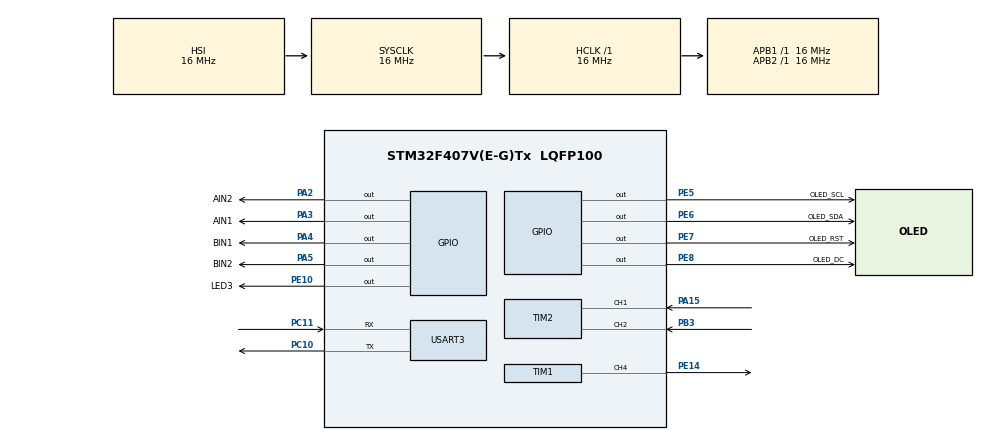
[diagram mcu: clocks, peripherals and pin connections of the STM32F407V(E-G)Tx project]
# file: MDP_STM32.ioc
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FREERTOS.Tasks01=defaultTask,24,128,StartDefaultTask,Default,NULL,Dynamic,NULL,NULL;displayOLED,8,128,displayMsg,Default,NULL,Dynamic,NULL,NULL;encoderTask,8,128,runEncoder,Default,NULL,Dynamic,NULL,NULL
Mcu.Family=STM32F4
Mcu.Name=STM32F407V(E-G)Tx
Mcu.Package=LQFP100
NVIC.PriorityGroup=NVIC_PRIORITYGROUP_4
NVIC.USART3_IRQn=true\:5\:0\:false\:false\:true\:true\:true\:true
PA15.Signal=S_TIM2_CH1_ETR
PA2.GPIO_Label=AIN2
PA2.GPIO_Speed=GPIO_SPEED_FREQ_HIGH
PA2.Signal=GPIO_Output
PA3.GPIO_Label=AIN1
PA3.GPIO_Speed=GPIO_SPEED_FREQ_HIGH
PA3.Signal=GPIO_Output
PA4.GPIO_Label=BIN1
PA4.GPIO_Speed=GPIO_SPEED_FREQ_HIGH
PA4.Signal=GPIO_Output
PA5.GPIO_Label=BIN2
PA5.GPIO_Speed=GPIO_SPEED_FREQ_HIGH
PA5.Signal=GPIO_Output
PB3.Signal=S_TIM2_CH2
PC10.GPIO_Speed=GPIO_SPEED_FREQ_HIGH
PC10.Mode=Asynchronous
PC10.Signal=USART3_TX
PC11.GPIO_PuPd=GPIO_PULLDOWN
PC11.GPIO_Speed=GPIO_SPEED_FREQ_HIGH
PC11.Mode=Asynchronous
PC11.Signal=USART3_RX
PC6.GPIO_Label=PWMA
PC6.Signal=S_TIM8_CH1
PC7.GPIO_Label=PWMB
PC7.Signal=S_TIM8_CH2
PE10.GPIO_Label=LED3
PE10.Signal=GPIO_Output
PE14.GPIO_Speed=GPIO_SPEED_FREQ_LOW
PE14.Signal=S_TIM1_CH4
PE5.GPIO_Label=OLED_SCL
PE5.Signal=GPIO_Output
PE6.GPIO_Label=OLED_SDA
PE6.Signal=GPIO_Output
PE7.GPIO_Label=OLED_RST
PE7.Signal=GPIO_Output
PE8.GPIO_Label=OLED_DC
PE8.Signal=GPIO_Output
ProjectManager.HeapSize=0x200
ProjectManager.StackSize=0x400
ProjectManager.TargetToolchain=STM32CubeIDE
RCC.AHBFreq_Value=16000000
RCC.APB1Freq_Value=16000000
RCC.APB2Freq_Value=16000000
RCC.CortexFreq_Value=16000000
RCC.HSE_VALUE=25000000
RCC.HSI_VALUE=16000000
RCC.LSE_VALUE=32768
RCC.SYSCLKFreq_VALUE=16000000
RCC.VCOOutputFreq_Value=192000000
SH.S_TIM1_CH4.0=TIM1_CH4,PWM Generation4 CH4
SH.S_TIM2_CH1_ETR.0=TIM2_CH1,Encoder_Interface
SH.S_TIM2_CH2.0=TIM2_CH2,Encoder_Interface
SH.S_TIM8_CH1.0=TIM8_CH1
SH.S_TIM8_CH2.0=TIM8_CH2
TIM1.AutoReloadPreload=TIM_AUTORELOAD_PRELOAD_ENABLE
TIM1.Channel-PWM\ Generation4\ CH4=TIM_CHANNEL_4
TIM1.Period=1000
TIM1.Prescaler=160
TIM2.EncoderMode=TIM_ENCODERMODE_TI12
TIM2.IC1Filter=10
TIM8.Channel-PWM\ Generation1\ No\ Output=TIM_CHANNEL_1
TIM8.Channel-PWM\ Generation2\ No\ Output=TIM_CHANNEL_2
TIM8.Period=7199
USART3.VirtualMode=VM_ASYNC
VP_FREERTOS_VS_CMSIS_V2.Mode=CMSIS_V2
VP_TIM1_VS_ClockSourceINT.Mode=Internal
VP_TIM8_VS_ClockSourceINT.Mode=Internal
VP_TIM8_VS_no_output1.Mode=PWM Generation1 No Output
VP_TIM8_VS_no_output2.Mode=PWM Generation2 No Output
board=custom

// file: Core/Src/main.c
/* USER CODE BEGIN Header */
/**
  ******************************************************************************
  * @file           : main.c
  * @brief          : Main program body
  ******************************************************************************
  * @attention
  *
  * Copyright (c) 2022 STMicroelectronics.
  * All rights reserved.
  *
  * This software is licensed under terms that can be found in the LICENSE file
  * in the root directory of this software component.
  * If no LICENSE file comes with this software, it is provided AS-IS.
  *
  ******************************************************************************
  */
/* USER CODE END Header */
#include "main.h"
#include "cmsis_os.h"

/* USER CODE BEGIN Includes */
#include "oled.h"
/* USER CODE END Includes */

TIM_HandleTypeDef htim1;
TIM_HandleTypeDef htim2;
TIM_HandleTypeDef htim8;

UART_HandleTypeDef huart3;

/* Definitions for defaultTask */
osThreadId_t defaultTaskHandle;
const osThreadAttr_t defaultTask_attributes = {
  .name = "defaultTask",
  .stack_size = 128 * 4,
  .priority = (osPriority_t) osPriorityNormal,
};
/* Definitions for displayOLED */
osThreadId_t displayOLEDHandle;
const osThreadAttr_t displayOLED_attributes = {
  .name = "displayOLED",
  .stack_size = 128 * 4,
  .priority = (osPriority_t) osPriorityLow,
};
/* Definitions for encoderTask */
osThreadId_t encoderTaskHandle;
const osThreadAttr_t encoderTask_attributes = {
  .name = "encoderTask",
  .stack_size = 128 * 4,
  .priority = (osPriority_t) osPriorityLow,
};

void SystemClock_Config(void);
static void MX_GPIO_Init(void);
static void MX_TIM8_Init(void);
static void MX_TIM2_Init(void);
static void MX_USART3_UART_Init(void);
static void MX_TIM1_Init(void);
void StartDefaultTask(void *argument);
void displayMsg(void *argument);
void runEncoder(void *argument);

/* USER CODE BEGIN PFP */
void motorTurn(uint8_t amt);
void motorMoveForward();
void motorMoveBackward();
void motorStop();
/* USER CODE END PFP */

/* USER CODE BEGIN 0 */
uint8_t BUFFER_SIZE = 4;

// buffer format = command character + numeric value [cmd char][num0][num1][num2]
//			eg.  L120 L = turn left amount = 120
uint8_t aRxBuffer[10];
uint8_t aTxBuffer[10];

uint8_t curTask = 'f';

uint16_t speed = 0;
uint8_t dir = 0;
uint16_t pwmVal = 0;
/* USER CODE END 0 */

int main(void)
{

  /* MCU Configuration--------------------------------------------------------*/

  /* Reset of all peripherals, Initializes the Flash interface and the Systick. */
  HAL_Init();

  /* Configure the system clock */
  SystemClock_Config();

  /* Initialize all configured peripherals */
  MX_GPIO_Init();
  MX_TIM8_Init();
  MX_TIM2_Init();
  MX_USART3_UART_Init();
  MX_TIM1_Init();
  /* USER CODE BEGIN 2 */
  OLED_Init();

  HAL_UART_Receive_IT(&huart3, (uint8_t *) aRxBuffer,BUFFER_SIZE);
  /* USER CODE END 2 */

  /* Init scheduler */
  osKernelInitialize();

  /* Create the thread(s) */
  /* creation of defaultTask */
  defaultTaskHandle = osThreadNew(StartDefaultTask, NULL, &defaultTask_attributes);

  /* creation of displayOLED */
  displayOLEDHandle = osThreadNew(displayMsg, NULL, &displayOLED_attributes);

  /* creation of encoderTask */
  encoderTaskHandle = osThreadNew(runEncoder, NULL, &encoderTask_attributes);

  /* Start scheduler */
  osKernelStart();

  /* We should never get here as control is now taken by the scheduler */
  /* Infinite loop */
  while (1)
  {

  }
}

void SystemClock_Config(void)
{
  RCC_OscInitTypeDef RCC_OscInitStruct = {0};
  RCC_ClkInitTypeDef RCC_ClkInitStruct = {0};

  /** Configure the main internal regulator output voltage
  */
  __HAL_RCC_PWR_CLK_ENABLE();
  __HAL_PWR_VOLTAGESCALING_CONFIG(PWR_REGULATOR_VOLTAGE_SCALE1);
  /** Initializes the RCC Oscillators according to the specified parameters
  * in the RCC_OscInitTypeDef structure.
  */
  RCC_OscInitStruct.OscillatorType = RCC_OSCILLATORTYPE_HSI;
  RCC_OscInitStruct.HSIState = RCC_HSI_ON;
  RCC_OscInitStruct.HSICalibrationValue = RCC_HSICALIBRATION_DEFAULT;
  RCC_OscInitStruct.PLL.PLLState = RCC_PLL_NONE;
  if (HAL_RCC_OscConfig(&RCC_OscInitStruct) != HAL_OK)
  {
    Error_Handler();
  }
  /** Initializes the CPU, AHB and APB buses clocks
  */
  RCC_ClkInitStruct.ClockType = RCC_CLOCKTYPE_HCLK|RCC_CLOCKTYPE_SYSCLK
                              |RCC_CLOCKTYPE_PCLK1|RCC_CLOCKTYPE_PCLK2;
  RCC_ClkInitStruct.SYSCLKSource = RCC_SYSCLKSOURCE_HSI;
  RCC_ClkInitStruct.AHBCLKDivider = RCC_SYSCLK_DIV1;
  RCC_ClkInitStruct.APB1CLKDivider = RCC_HCLK_DIV1;
  RCC_ClkInitStruct.APB2CLKDivider = RCC_HCLK_DIV1;

  if (HAL_RCC_ClockConfig(&RCC_ClkInitStruct, FLASH_LATENCY_0) != HAL_OK)
  {
    Error_Handler();
  }
}

static void MX_TIM1_Init(void)
{

  TIM_ClockConfigTypeDef sClockSourceConfig = {0};
  TIM_MasterConfigTypeDef sMasterConfig = {0};
  TIM_OC_InitTypeDef sConfigOC = {0};
  TIM_BreakDeadTimeConfigTypeDef sBreakDeadTimeConfig = {0};

  htim1.Instance = TIM1;
  htim1.Init.Prescaler = 160;
  htim1.Init.CounterMode = TIM_COUNTERMODE_UP;
  htim1.Init.Period = 1000;
  htim1.Init.ClockDivision = TIM_CLOCKDIVISION_DIV1;
  htim1.Init.RepetitionCounter = 0;
  htim1.Init.AutoReloadPreload = TIM_AUTORELOAD_PRELOAD_ENABLE;
  if (HAL_TIM_Base_Init(&htim1) != HAL_OK)
  {
    Error_Handler();
  }
  sClockSourceConfig.ClockSource = TIM_CLOCKSOURCE_INTERNAL;
  if (HAL_TIM_ConfigClockSource(&htim1, &sClockSourceConfig) != HAL_OK)
  {
    Error_Handler();
  }
  if (HAL_TIM_PWM_Init(&htim1) != HAL_OK)
  {
    Error_Handler();
  }
  sMasterConfig.MasterOutputTrigger = TIM_TRGO_RESET;
  sMasterConfig.MasterSlaveMode = TIM_MASTERSLAVEMODE_DISABLE;
  if (HAL_TIMEx_MasterConfigSynchronization(&htim1, &sMasterConfig) != HAL_OK)
  {
    Error_Handler();
  }
  sConfigOC.OCMode = TIM_OCMODE_PWM1;
  sConfigOC.Pulse = 0;
  sConfigOC.OCPolarity = TIM_OCPOLARITY_HIGH;
  sConfigOC.OCFastMode = TIM_OCFAST_DISABLE;
  sConfigOC.OCIdleState = TIM_OCIDLESTATE_RESET;
  sConfigOC.OCNIdleState = TIM_OCNIDLESTATE_RESET;
  if (HAL_TIM_PWM_ConfigChannel(&htim1, &sConfigOC, TIM_CHANNEL_4) != HAL_OK)
  {
    Error_Handler();
  }
  sBreakDeadTimeConfig.OffStateRunMode = TIM_OSSR_DISABLE;
  sBreakDeadTimeConfig.OffStateIDLEMode = TIM_OSSI_DISABLE;
  sBreakDeadTimeConfig.LockLevel = TIM_LOCKLEVEL_OFF;
  sBreakDeadTimeConfig.DeadTime = 0;
  sBreakDeadTimeConfig.BreakState = TIM_BREAK_DISABLE;
  sBreakDeadTimeConfig.BreakPolarity = TIM_BREAKPOLARITY_HIGH;
  sBreakDeadTimeConfig.AutomaticOutput = TIM_AUTOMATICOUTPUT_DISABLE;
  if (HAL_TIMEx_ConfigBreakDeadTime(&htim1, &sBreakDeadTimeConfig) != HAL_OK)
  {
    Error_Handler();
  }
  HAL_TIM_MspPostInit(&htim1);

}

static void MX_TIM2_Init(void)
{

  TIM_Encoder_InitTypeDef sConfig = {0};
  TIM_MasterConfigTypeDef sMasterConfig = {0};

  htim2.Instance = TIM2;
  htim2.Init.Prescaler = 0;
  htim2.Init.CounterMode = TIM_COUNTERMODE_UP;
  htim2.Init.Period = 4294967295;
  htim2.Init.ClockDivision = TIM_CLOCKDIVISION_DIV1;
  htim2.Init.AutoReloadPreload = TIM_AUTORELOAD_PRELOAD_DISABLE;
  sConfig.EncoderMode = TIM_ENCODERMODE_TI12;
  sConfig.IC1Polarity = TIM_ICPOLARITY_RISING;
  sConfig.IC1Selection = TIM_ICSELECTION_DIRECTTI;
  sConfig.IC1Prescaler = TIM_ICPSC_DIV1;
  sConfig.IC1Filter = 10;
  sConfig.IC2Polarity = TIM_ICPOLARITY_RISING;
  sConfig.IC2Selection = TIM_ICSELECTION_DIRECTTI;
  sConfig.IC2Prescaler = TIM_ICPSC_DIV1;
  sConfig.IC2Filter = 0;
  if (HAL_TIM_Encoder_Init(&htim2, &sConfig) != HAL_OK)
  {
    Error_Handler();
  }
  sMasterConfig.MasterOutputTrigger = TIM_TRGO_RESET;
  sMasterConfig.MasterSlaveMode = TIM_MASTERSLAVEMODE_DISABLE;
  if (HAL_TIMEx_MasterConfigSynchronization(&htim2, &sMasterConfig) != HAL_OK)
  {
    Error_Handler();
  }

}

static void MX_TIM8_Init(void)
{

  TIM_ClockConfigTypeDef sClockSourceConfig = {0};
  TIM_MasterConfigTypeDef sMasterConfig = {0};
  TIM_OC_InitTypeDef sConfigOC = {0};
  TIM_BreakDeadTimeConfigTypeDef sBreakDeadTimeConfig = {0};

  htim8.Instance = TIM8;
  htim8.Init.Prescaler = 0;
  htim8.Init.CounterMode = TIM_COUNTERMODE_UP;
  htim8.Init.Period = 7199;
  htim8.Init.ClockDivision = TIM_CLOCKDIVISION_DIV1;
  htim8.Init.RepetitionCounter = 0;
  htim8.Init.AutoReloadPreload = TIM_AUTORELOAD_PRELOAD_DISABLE;
  if (HAL_TIM_Base_Init(&htim8) != HAL_OK)
  {
    Error_Handler();
  }
  sClockSourceConfig.ClockSource = TIM_CLOCKSOURCE_INTERNAL;
  if (HAL_TIM_ConfigClockSource(&htim8, &sClockSourceConfig) != HAL_OK)
  {
    Error_Handler();
  }
  if (HAL_TIM_PWM_Init(&htim8) != HAL_OK)
  {
    Error_Handler();
  }
  sMasterConfig.MasterOutputTrigger = TIM_TRGO_RESET;
  sMasterConfig.MasterSlaveMode = TIM_MASTERSLAVEMODE_DISABLE;
  if (HAL_TIMEx_MasterConfigSynchronization(&htim8, &sMasterConfig) != HAL_OK)
  {
    Error_Handler();
  }
  sConfigOC.OCMode = TIM_OCMODE_PWM1;
  sConfigOC.Pulse = 0;
  sConfigOC.OCPolarity = TIM_OCPOLARITY_HIGH;
  sConfigOC.OCNPolarity = TIM_OCNPOLARITY_HIGH;
  sConfigOC.OCFastMode = TIM_OCFAST_DISABLE;
  sConfigOC.OCIdleState = TIM_OCIDLESTATE_RESET;
  sConfigOC.OCNIdleState = TIM_OCNIDLESTATE_RESET;
  if (HAL_TIM_PWM_ConfigChannel(&htim8, &sConfigOC, TIM_CHANNEL_1) != HAL_OK)
  {
    Error_Handler();
  }
  if (HAL_TIM_PWM_ConfigChannel(&htim8, &sConfigOC, TIM_CHANNEL_2) != HAL_OK)
  {
    Error_Handler();
  }
  sBreakDeadTimeConfig.OffStateRunMode = TIM_OSSR_DISABLE;
  sBreakDeadTimeConfig.OffStateIDLEMode = TIM_OSSI_DISABLE;
  sBreakDeadTimeConfig.LockLevel = TIM_LOCKLEVEL_OFF;
  sBreakDeadTimeConfig.DeadTime = 0;
  sBreakDeadTimeConfig.BreakState = TIM_BREAK_DISABLE;
  sBreakDeadTimeConfig.BreakPolarity = TIM_BREAKPOLARITY_HIGH;
  sBreakDeadTimeConfig.AutomaticOutput = TIM_AUTOMATICOUTPUT_DISABLE;
  if (HAL_TIMEx_ConfigBreakDeadTime(&htim8, &sBreakDeadTimeConfig) != HAL_OK)
  {
    Error_Handler();
  }

}

static void MX_USART3_UART_Init(void)
{

  huart3.Instance = USART3;
  huart3.Init.BaudRate = 115200;
  huart3.Init.WordLength = UART_WORDLENGTH_8B;
  huart3.Init.StopBits = UART_STOPBITS_1;
  huart3.Init.Parity = UART_PARITY_NONE;
  huart3.Init.Mode = UART_MODE_TX_RX;
  huart3.Init.HwFlowCtl = UART_HWCONTROL_NONE;
  huart3.Init.OverSampling = UART_OVERSAMPLING_16;
  if (HAL_UART_Init(&huart3) != HAL_OK)
  {
    Error_Handler();
  }

}

static void MX_GPIO_Init(void)
{
  GPIO_InitTypeDef GPIO_InitStruct = {0};

  /* GPIO Ports Clock Enable */
  __HAL_RCC_GPIOE_CLK_ENABLE();
  __HAL_RCC_GPIOA_CLK_ENABLE();
  __HAL_RCC_GPIOC_CLK_ENABLE();
  __HAL_RCC_GPIOB_CLK_ENABLE();

  /*Configure GPIO pin Output Level */
  HAL_GPIO_WritePin(GPIOE, OLED_SCL_Pin|OLED_SDA_Pin|OLED_RST_Pin|OLED_DC_Pin
                          |LED3_Pin, GPIO_PIN_RESET);

  /*Configure GPIO pin Output Level */
  HAL_GPIO_WritePin(GPIOA, AIN2_Pin|AIN1_Pin|BIN1_Pin|BIN2_Pin, GPIO_PIN_RESET);

  /*Configure GPIO pins : OLED_SCL_Pin OLED_SDA_Pin OLED_RST_Pin OLED_DC_Pin
                           LED3_Pin */
  GPIO_InitStruct.Pin = OLED_SCL_Pin|OLED_SDA_Pin|OLED_RST_Pin|OLED_DC_Pin
                          |LED3_Pin;
  GPIO_InitStruct.Mode = GPIO_MODE_OUTPUT_PP;
  GPIO_InitStruct.Pull = GPIO_NOPULL;
  GPIO_InitStruct.Speed = GPIO_SPEED_FREQ_LOW;
  HAL_GPIO_Init(GPIOE, &GPIO_InitStruct);

  /*Configure GPIO pins : AIN2_Pin AIN1_Pin BIN1_Pin BIN2_Pin */
  GPIO_InitStruct.Pin = AIN2_Pin|AIN1_Pin|BIN1_Pin|BIN2_Pin;
  GPIO_InitStruct.Mode = GPIO_MODE_OUTPUT_PP;
  GPIO_InitStruct.Pull = GPIO_NOPULL;
  GPIO_InitStruct.Speed = GPIO_SPEED_FREQ_HIGH;
  HAL_GPIO_Init(GPIOA, &GPIO_InitStruct);

}

/* USER CODE BEGIN 4 */
// HAL_UART_RxCpltCallback evoked when buffer is full

//int count=0;
uint16_t turnVal = 0;
void HAL_UART_RxCpltCallback(UART_HandleTypeDef * huart) {
	// prevent unused argument(s) compilation warning
	UNUSED(huart);
	curTask = aRxBuffer[0];
//	if (aRxBuffer[0] == 's') {
//		curTask = 's';
	//	turnVal = (aRxBuffer[1] - 48) * 100 + (aRxBuffer[2] - 48) * 10 + (aRxBuffer[3] - 48);
	//	htim1.Instance->CCR4 = turnVal;
	//}
//	count++;
	__HAL_UART_FLUSH_DRREGISTER(&huart3);
	HAL_UART_Receive_IT(&huart3, aRxBuffer, BUFFER_SIZE);
	//HAL_UART_Transmit(&huart3, (uint8_t *) aTxBuffer, BUFFER_SIZE);
	//HAL_UART_Transmit(&huart3, (uint8_t *) aTxBuffer, BUFFER_SIZE, 0xFFFF);
}

void motorTurn(uint8_t amt) {
	// extreme left: 95, center: 145, extreme right: 245
	htim1.Instance->CCR4 = (amt > 245) ? 245 : ((amt < 95) ? 95 : amt);
}

void motorMoveForward() {
	pwmVal = 3000;
	// anticlockwise (forward)
	HAL_GPIO_WritePin(GPIOA, AIN2_Pin, GPIO_PIN_RESET);
	HAL_GPIO_WritePin(GPIOA, AIN1_Pin, GPIO_PIN_SET);
	// clockwise (forward)
	HAL_GPIO_WritePin(GPIOA, BIN2_Pin, GPIO_PIN_RESET);
	HAL_GPIO_WritePin(GPIOA, BIN1_Pin, GPIO_PIN_SET);
	pwmVal--;
	__HAL_TIM_SetCompare(&htim8, TIM_CHANNEL_1, pwmVal);
	__HAL_TIM_SetCompare(&htim8, TIM_CHANNEL_2, pwmVal);
}

void motorMoveBackward() {
	pwmVal = 3000;
	 // clockwise (backward)
	HAL_GPIO_WritePin(GPIOA, AIN2_Pin, GPIO_PIN_SET);
	HAL_GPIO_WritePin(GPIOA, AIN1_Pin, GPIO_PIN_RESET);

	 // anticlockwise (backward)
	HAL_GPIO_WritePin(GPIOA, BIN2_Pin, GPIO_PIN_SET);
	HAL_GPIO_WritePin(GPIOA, BIN1_Pin, GPIO_PIN_RESET);

	__HAL_TIM_SetCompare(&htim8, TIM_CHANNEL_1, pwmVal);
	__HAL_TIM_SetCompare(&htim8, TIM_CHANNEL_2, pwmVal);
}

void motorStop() {
	__HAL_TIM_SetCompare(&htim8, TIM_CHANNEL_1, 0);
	__HAL_TIM_SetCompare(&htim8, TIM_CHANNEL_2, 0);
}

/* USER CODE END 4 */

void StartDefaultTask(void *argument)
{
  /* USER CODE BEGIN 5 */
	// servo pwm
	HAL_TIM_PWM_Start(&htim1, TIM_CHANNEL_4);

	// DC motor pwm
	HAL_TIM_PWM_Start(&htim8, TIM_CHANNEL_1);
	HAL_TIM_PWM_Start(&htim8, TIM_CHANNEL_2);

	// encoder pwm
	//HAL_TIM_Encoder_Start(&htim2, TIM_CHANNEL_ALL);

	char ch;
  /* Infinite loop */
  for(;;)
  {
	 //test UART Rx
	//HAL_UART_Transmit(&huart3, (uint8_t *) &ch,1,0xFFFF);
//	if (ch < 'Z') ch++;
//	else ch = 'A';
	 curTask = aRxBuffer[0];
	 switch(curTask) {
	 case 'f':
		 motorTurn(145);
		 motorMoveForward();
		 break;
	 case 'b':
		 motorTurn(145);
		 motorMoveBackward();
		 break;
	 case 's':
		 motorStop();
		 break;
	 case 'l':
		 motorTurn(95);
		 motorMoveForward();
		 break;
	 case 'r':
		 motorTurn(245);
		 motorMoveForward();
	 default:
		 HAL_GPIO_TogglePin(LED3_GPIO_Port, LED3_Pin);
		 break;
	 }

    osDelay(10);
  }
  /* USER CODE END 5 */
}

void displayMsg(void *argument)
{
  /* USER CODE BEGIN displayMsg */
	char msg[20] = "";
  /* Infinite loop */
  for(;;)
  {
	  OLED_ShowString(10, 10, msg);
	  sprintf(msg, "bf:%s\0", aRxBuffer);
	  OLED_ShowString(10, 20, msg);
	  sprintf(msg, "state:%c", curTask);
	  switch(curTask) {
	 	 case 'f':
	 		 sprintf(msg, "Speed: %d", speed);
	 		 OLED_ShowString(10, 30, msg);
	 		 sprintf(msg, "Dir: %d", dir);
	 		 OLED_ShowString(10, 40, msg);
	 		 break;
	 	 case 'b':
	 		sprintf(msg, "Speed: %d", speed);
			 OLED_ShowString(10, 30, msg);
			 sprintf(msg, "Dir: %d", dir);
			 OLED_ShowString(10, 40, msg);
	 		 break;
	 	 case 's':
	 		 sprintf(msg, "Speed: %d", speed);
			 OLED_ShowString(10, 30, msg);
			 sprintf(msg, "Dir: %d", dir);
			 OLED_ShowString(10, 40, msg);
	 		 break;
	 	 case 'l':
	 		sprintf(msg, "Turn left");
	 		OLED_ShowString(10, 30, msg);
	 		 break;
	 	 case 'r':
	 		sprintf(msg, "Turn right");
			OLED_ShowString(10, 30, msg);
	 	 default:
	 		 HAL_GPIO_TogglePin(LED3_GPIO_Port, LED3_Pin);
	 		 break;
	 	 }

	OLED_Refresh_Gram();
    osDelay(100);
  }
  /* USER CODE END displayMsg */
}

void runEncoder(void *argument)
{
  /* USER CODE BEGIN runEncoder */
	HAL_TIM_Encoder_Start(&htim2, TIM_CHANNEL_ALL);
	int cnt1, cnt2;
	uint32_t tick;

	cnt1 = __HAL_TIM_GET_COUNTER(&htim2);
	tick = HAL_GetTick(); // systick tick
  /* Infinite loop */
  for(;;)
  {
	  if (HAL_GetTick() - tick > 1000L) {
		  cnt2 = __HAL_TIM_GET_COUNTER(&htim2);
		  if (__HAL_TIM_IS_TIM_COUNTING_DOWN(&htim2)) {
			  speed = (cnt2 < cnt1) ? cnt1 - cnt2 : (65535 - cnt2) + cnt1;
		  }
		  else {
			  speed = (cnt2 > cnt1) ? cnt2 - cnt1 : (65535 - cnt1) + cnt2;
		  }

		  dir = __HAL_TIM_IS_TIM_COUNTING_DOWN(&htim2);

		  cnt1 = __HAL_TIM_GET_COUNTER(&htim2);
		  tick = HAL_GetTick();
	  }

   // osDelay(10); //delay not suitable here, we try to get accurate encoder reading
  }
  /* USER CODE END runEncoder */
}

void Error_Handler(void)
{
  __disable_irq();
  while (1)
  {
  }
}
